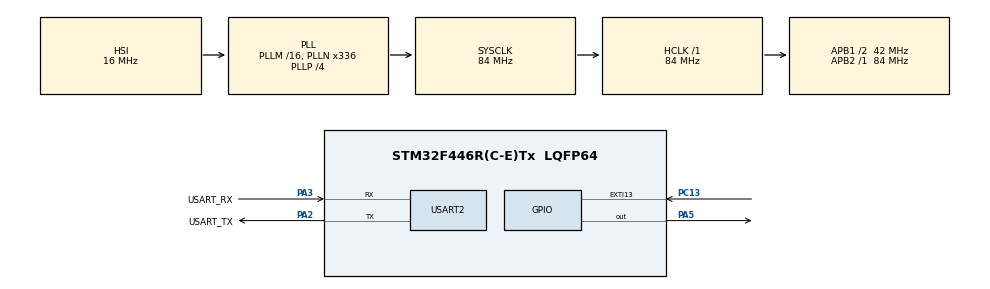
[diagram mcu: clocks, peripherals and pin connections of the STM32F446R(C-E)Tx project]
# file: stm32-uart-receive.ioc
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Mcu.Family=STM32F4
Mcu.Name=STM32F446R(C-E)Tx
Mcu.Package=LQFP64
NUCLEO-F446RE.BUTTON=1
NUCLEO-F446RE.LD1=true
NVIC.EXTI15_10_IRQn=true\:0\:0\:false\:false\:true\:false\:true\:true
NVIC.PriorityGroup=NVIC_PRIORITYGROUP_0
PA13.GPIO_Label=TMS
PA13.Signal=SYS_JTMS-SWDIO
PA14.GPIO_Label=TCK
PA14.Signal=SYS_JTCK-SWCLK
PA2.GPIO_Label=USART_TX
PA2.Mode=Asynchronous
PA2.Signal=USART2_TX
PA3.GPIO_Label=USART_RX
PA3.Mode=Asynchronous
PA3.Signal=USART2_RX
PA5.Signal=GPIO_Output
PB3.GPIO_Label=SWO
PB3.Signal=SYS_JTDO-SWO
PC13.Signal=GPXTI13
PC14-OSC32_IN.Signal=RCC_OSC32_IN
PC15-OSC32_OUT.Signal=RCC_OSC32_OUT
PH0-OSC_IN.Signal=RCC_OSC_IN
PH1-OSC_OUT.Signal=RCC_OSC_OUT
ProjectManager.HeapSize=0x200
ProjectManager.StackSize=0x400
ProjectManager.TargetToolchain=STM32CubeIDE
RCC.AHBFreq_Value=84000000
RCC.APB1CLKDivider=RCC_HCLK_DIV2
RCC.APB1Freq_Value=42000000
RCC.APB1TimFreq_Value=84000000
RCC.APB2Freq_Value=84000000
RCC.APB2TimFreq_Value=84000000
RCC.CortexFreq_Value=84000000
RCC.FLatency-AdvancedSettings=FLASH_LATENCY_2
RCC.HCLKFreq_Value=84000000
RCC.HSE_VALUE=8000000
RCC.HSI_VALUE=16000000
RCC.LSE_VALUE=32768
RCC.PLLN=336
RCC.PLLP=RCC_PLLP_DIV4
RCC.SYSCLKFreq_VALUE=84000000
RCC.SYSCLKSource=RCC_SYSCLKSOURCE_PLLCLK
RCC.USBFreq_Value=168000000
RCC.VCOOutputFreq_Value=336000000
USART2.VirtualMode=VM_ASYNC
VP_NUCLEO-F446RE_VS_BSP_COMMON.Mode=COMMON
board=NUCLEO-F446RE

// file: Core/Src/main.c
/* USER CODE BEGIN Header */
/**
 ******************************************************************************
 * @file           : main.c
 * @brief          : Main program body
 ******************************************************************************
 * @attention
 *
 * Copyright (c) 2026 STMicroelectronics.
 * All rights reserved.
 *
 * This software is licensed under terms that can be found in the LICENSE file
 * in the root directory of this software component.
 * If no LICENSE file comes with this software, it is provided AS-IS.
 *
 ******************************************************************************
 */
/* USER CODE END Header */
#include "main.h"

/* USER CODE BEGIN Includes */

#include <stdio.h>
#include <string.h>

/* USER CODE END Includes */

UART_HandleTypeDef huart2;

void SystemClock_Config(void);
static void MX_GPIO_Init(void);
static void MX_USART2_UART_Init(void);

int main(void) {

	/* MCU Configuration--------------------------------------------------------*/

	/* Reset of all peripherals, Initializes the Flash interface and the Systick. */
	HAL_Init();

	/* Configure the system clock */
	SystemClock_Config();

	/* Initialize all configured peripherals */
	MX_GPIO_Init();
	MX_USART2_UART_Init();
	/* USER CODE BEGIN 2 */

	// uint8_t rx_data;
	// char message[50];
	uint8_t rx_char;

	char command[20];

	uint8_t command_index = 0;

	/* USER CODE END 2 */

	/* Initialize leds */
	BSP_LED_Init(LED2);

	/* Initialize USER push-button, will be used to trigger an interrupt each time it's pressed.*/
	BSP_PB_Init(BUTTON_USER, BUTTON_MODE_EXTI);

	/* Infinite loop */
	/* USER CODE BEGIN WHILE */
	while (1) {
		// Receive one byte from UART
		// HAL_UART_Receive(&huart2, &rx_data, 1, HAL_MAX_DELAY);

		// Prepare response
		// snprintf(message, sizeof(message), "Received: %c\r\n", rx_data);

		// Send a response back to PC
		// HAL_UART_Transmit(&huart2, (uint8_t *)message, strlen(message), HAL_MAX_DELAY);

		/* USER CODE END WHILE */

		/* USER CODE BEGIN 3 */

		HAL_UART_Receive(&huart2, &rx_char, 1, HAL_MAX_DELAY);

		// Check for end of command
		if (rx_char == '\r' || rx_char == '\n') {
			if (command_index > 0) {
				// Terminate the string
				command[command_index] = '\0';

				// Process the received command
				if (strcmp(command, "LED ON") == 0) {
					BSP_LED_On(LED2);

					HAL_UART_Transmit(&huart2, (uint8_t*) "LED is ON\r\n",
							sizeof("LED is ON\r\n") - 1,
							HAL_MAX_DELAY);
				} else if (strcmp(command, "LED OFF") == 0) {
					BSP_LED_Off(LED2);

					HAL_UART_Transmit(&huart2, (uint8_t*) "LED is OFF\r\n",
							sizeof("LED is OFF\r\n") - 1,
							HAL_MAX_DELAY);
				} else {
					HAL_UART_Transmit(&huart2, (uint8_t*) "Unknown command\r\n",
							sizeof("Unknown command\r\n") - 1,
							HAL_MAX_DELAY);
				}

				// Reset command buffer
				command_index = 0;
			}
		} else {
			// Store received character if buffer has space
			if (command_index < sizeof(command) - 1) {
				command[command_index++] = rx_char;
			} else {
				// Prevent buffer overflow
				command_index = 0;
			}
		}
	}
//	maksim@maksim-pc:~$ minicom -D /dev/ttyACM0 -b 115200
//
//
//	Welcome to minicom 2.9
//
//	OPTIONS: I18n
//	Port /dev/ttyACM0, 19:33:30
//
//	Press CTRL-A Z for help on special keys
//
//	Unknown command
//	Unknown command
//	Unknown command
//	LED is ON
//	LED is OFF
//	Unknown command
//	LED is ON
//	Unknown command
//	LED is OFF
//	LED is ON

	/* USER CODE END 3 */
}

void SystemClock_Config(void) {
	RCC_OscInitTypeDef RCC_OscInitStruct = { 0 };
	RCC_ClkInitTypeDef RCC_ClkInitStruct = { 0 };

	/** Configure the main internal regulator output voltage
	 */
	__HAL_RCC_PWR_CLK_ENABLE();
	__HAL_PWR_VOLTAGESCALING_CONFIG(PWR_REGULATOR_VOLTAGE_SCALE3);

	/** Initializes the RCC Oscillators according to the specified parameters
	 * in the RCC_OscInitTypeDef structure.
	 */
	RCC_OscInitStruct.OscillatorType = RCC_OSCILLATORTYPE_HSI;
	RCC_OscInitStruct.HSIState = RCC_HSI_ON;
	RCC_OscInitStruct.HSICalibrationValue = RCC_HSICALIBRATION_DEFAULT;
	RCC_OscInitStruct.PLL.PLLState = RCC_PLL_ON;
	RCC_OscInitStruct.PLL.PLLSource = RCC_PLLSOURCE_HSI;
	RCC_OscInitStruct.PLL.PLLM = 16;
	RCC_OscInitStruct.PLL.PLLN = 336;
	RCC_OscInitStruct.PLL.PLLP = RCC_PLLP_DIV4;
	RCC_OscInitStruct.PLL.PLLQ = 2;
	RCC_OscInitStruct.PLL.PLLR = 2;
	if (HAL_RCC_OscConfig(&RCC_OscInitStruct) != HAL_OK) {
		Error_Handler();
	}

	/** Initializes the CPU, AHB and APB buses clocks
	 */
	RCC_ClkInitStruct.ClockType = RCC_CLOCKTYPE_HCLK | RCC_CLOCKTYPE_SYSCLK
			| RCC_CLOCKTYPE_PCLK1 | RCC_CLOCKTYPE_PCLK2;
	RCC_ClkInitStruct.SYSCLKSource = RCC_SYSCLKSOURCE_PLLCLK;
	RCC_ClkInitStruct.AHBCLKDivider = RCC_SYSCLK_DIV1;
	RCC_ClkInitStruct.APB1CLKDivider = RCC_HCLK_DIV2;
	RCC_ClkInitStruct.APB2CLKDivider = RCC_HCLK_DIV1;

	if (HAL_RCC_ClockConfig(&RCC_ClkInitStruct, FLASH_LATENCY_2) != HAL_OK) {
		Error_Handler();
	}
}

static void MX_USART2_UART_Init(void) {

	huart2.Instance = USART2;
	huart2.Init.BaudRate = 115200;
	huart2.Init.WordLength = UART_WORDLENGTH_8B;
	huart2.Init.StopBits = UART_STOPBITS_1;
	huart2.Init.Parity = UART_PARITY_NONE;
	huart2.Init.Mode = UART_MODE_TX_RX;
	huart2.Init.HwFlowCtl = UART_HWCONTROL_NONE;
	huart2.Init.OverSampling = UART_OVERSAMPLING_16;
	if (HAL_UART_Init(&huart2) != HAL_OK) {
		Error_Handler();
	}

}

static void MX_GPIO_Init(void) {

	/* GPIO Ports Clock Enable */
	__HAL_RCC_GPIOC_CLK_ENABLE();
	__HAL_RCC_GPIOH_CLK_ENABLE();
	__HAL_RCC_GPIOA_CLK_ENABLE();
	__HAL_RCC_GPIOB_CLK_ENABLE();

}

void Error_Handler(void) {
	__disable_irq();
	while (1) {
	}
}
